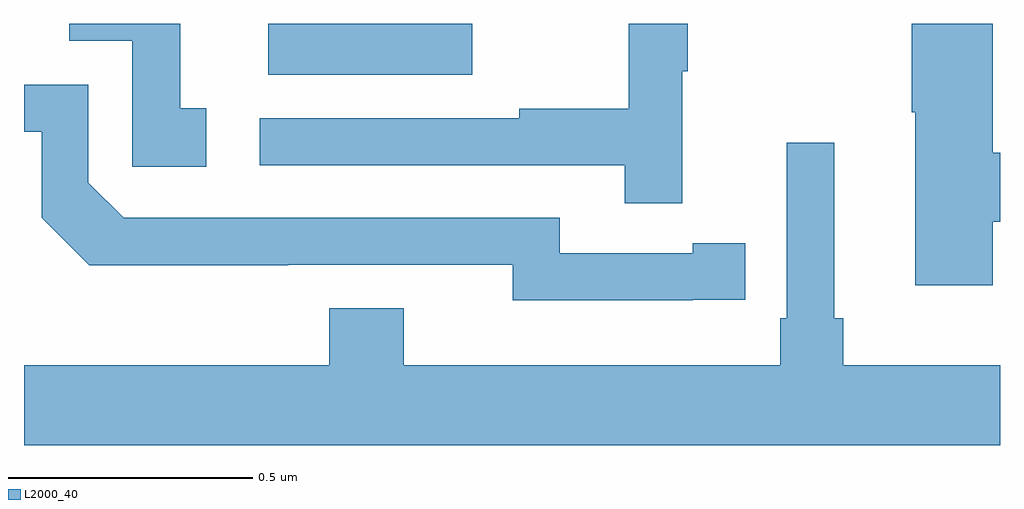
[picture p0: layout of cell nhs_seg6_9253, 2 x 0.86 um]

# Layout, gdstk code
import gdstk
lib = gdstk.Library(unit=1e-6, precision=1e-09)
def R(c, l, rs):  # rectangles x0, y0, x1, y1
    for r in rs: c.add(gdstk.rectangle(r[:2], r[2:], *l))
def P(c, l, *ps):  # polygons
    for p in ps: c.add(gdstk.Polygon(p, *l))
L2000_40 = (2000, 40)

nhs_seg6_9253 = lib.new_cell('nhs_seg6_9253')
R(nhs_seg6_9253, L2000_40, [(231.5,981.395,231.919,981.5)])
P(nhs_seg6_9253, L2000_40, [(231.373,981.327),(231.32,981.327),(231.32,981.5),(231.093,981.5),(231.093,981.465),(231.222,981.465),(231.222,981.207),(231.373,981.207)],
  [(232.349,981.403),(232.36,981.403),(232.36,981.5),(232.239,981.5),(232.239,981.326),(232.015,981.326),(232.015,981.306),(231.483,981.306),(231.483,981.21),(232.231,981.21),(232.231,981.132),(232.349,981.132)],
  [(232.985,981.094),(233,981.094),(233,981.236),(232.985,981.236),(232.985,981.5),(232.819,981.5),(232.819,981.319),(232.826,981.319),(232.826,980.964),(232.985,980.964)],
  [(232.37,980.934),(232.478,980.934),(232.478,981.05),(232.37,981.05),(232.37,981.03),(232.098,981.03),(232.098,981.102),(231.204,981.102),(231.132,981.174),(231.132,981.375),(231,981.375),(231,981.279),(231.036,981.279),(231.036,981.102),(231.134,981.005),(231.542,981.005),(231.542,981.006),(232.002,981.006),(232.002,980.933),(232.37,980.933)],
  [(233,980.8),(232.679,980.8),(232.679,980.896),(232.66,980.896),(232.66,981.256),(232.563,981.256),(232.563,980.896),(232.55,980.896),(232.55,980.8),(231.778,980.8),(231.778,980.917),(231.626,980.917),(231.626,980.8),(231,980.8),(231,980.636),(233,980.636)])

lib.write_gds('nhs_seg6_9253.gds')
